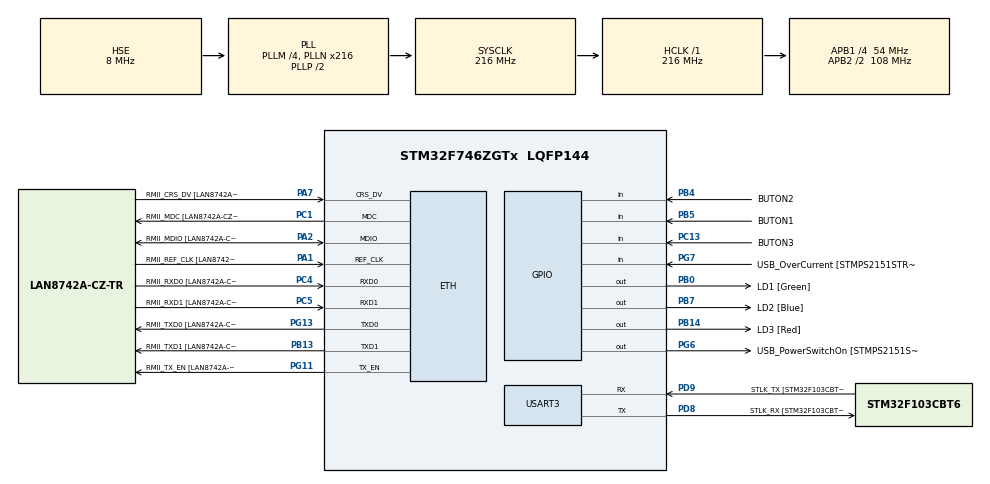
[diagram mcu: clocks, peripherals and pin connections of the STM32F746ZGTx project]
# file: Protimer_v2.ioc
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ETH.MediaInterface=ETH_MEDIA_INTERFACE_RMII
ETH.PHY_Name=LAN8742A_PHY_ADDRESS
ETH.PHY_Value=0
ETH.PhyAddress=0
Mcu.Family=STM32F7
Mcu.Name=STM32F746ZGTx
Mcu.Package=LQFP144
NVIC.PriorityGroup=NVIC_PRIORITYGROUP_4
PA1.GPIO_Label=RMII_REF_CLK [LAN8742A-CZ-TR_REFCLK0]
PA1.Mode=RMII
PA1.Signal=ETH_REF_CLK
PA13.GPIO_Label=TMS
PA13.Mode=Trace_Asynchronous_SW
PA13.Signal=SYS_JTMS-SWDIO
PA14.GPIO_Label=TCK
PA14.Mode=Trace_Asynchronous_SW
PA14.Signal=SYS_JTCK-SWCLK
PA2.GPIO_Label=RMII_MDIO [LAN8742A-CZ-TR_MDIO]
PA2.Mode=RMII
PA2.Signal=ETH_MDIO
PA7.GPIO_Label=RMII_CRS_DV [LAN8742A-CZ-TR_CRS_DV]
PA7.Mode=RMII
PA7.Signal=ETH_CRS_DV
PB0.GPIO_Label=LD1 [Green]
PB0.Signal=GPIO_Output
PB13.GPIO_Label=RMII_TXD1 [LAN8742A-CZ-TR_TXD1]
PB13.Mode=RMII
PB13.Signal=ETH_TXD1
PB14.GPIO_Label=LD3 [Red]
PB14.Signal=GPIO_Output
PB3.GPIO_Label=SW0
PB3.Mode=Trace_Asynchronous_SW
PB3.Signal=SYS_JTDO-SWO
PB4.GPIO_Label=BUTON2
PB4.GPIO_PuPd=GPIO_PULLDOWN
PB4.Signal=GPIO_Input
PB5.GPIO_Label=BUTON1
PB5.GPIO_PuPd=GPIO_PULLDOWN
PB5.Signal=GPIO_Input
PB7.GPIO_Label=LD2 [Blue]
PB7.Signal=GPIO_Output
PC1.GPIO_Label=RMII_MDC [LAN8742A-CZ-TR_MDC]
PC1.Mode=RMII
PC1.Signal=ETH_MDC
PC13.GPIO_Label=BUTON3
PC13.GPIO_PuPd=GPIO_PULLDOWN
PC13.Signal=GPIO_Input
PC14/OSC32_IN.Mode=LSE-External-Oscillator
PC14/OSC32_IN.Signal=RCC_OSC32_IN
PC15/OSC32_OUT.Mode=LSE-External-Oscillator
PC15/OSC32_OUT.Signal=RCC_OSC32_OUT
PC4.GPIO_Label=RMII_RXD0 [LAN8742A-CZ-TR_RXD0]
PC4.Mode=RMII
PC4.Signal=ETH_RXD0
PC5.GPIO_Label=RMII_RXD1 [LAN8742A-CZ-TR_RXD1]
PC5.Mode=RMII
PC5.Signal=ETH_RXD1
PD8.GPIO_Label=STLK_RX [STM32F103CBT6_PA3]
PD8.Mode=Asynchronous
PD8.Signal=USART3_TX
PD9.GPIO_Label=STLK_TX [STM32F103CBT6_PA2]
PD9.Mode=Asynchronous
PD9.Signal=USART3_RX
PG11.GPIO_Label=RMII_TX_EN [LAN8742A-CZ-TR_TXEN]
PG11.Mode=RMII
PG11.Signal=ETH_TX_EN
PG13.GPIO_Label=RMII_TXD0 [LAN8742A-CZ-TR_TXD0]
PG13.Mode=RMII
PG13.Signal=ETH_TXD0
PG6.GPIO_Label=USB_PowerSwitchOn [STMPS2151STR_EN]
PG6.Signal=GPIO_Output
PG7.GPIO_Label=USB_OverCurrent [STMPS2151STR_FAULT]
PG7.Signal=GPIO_Input
PH0/OSC_IN.GPIO_Label=MCO [STM32F103CBT6_PA8]
PH0/OSC_IN.Mode=HSE-External-Clock-Source
PH0/OSC_IN.Signal=RCC_OSC_IN
PH1/OSC_OUT.Mode=HSE-External-Clock-Source
PH1/OSC_OUT.Signal=RCC_OSC_OUT
ProjectManager.HeapSize=0x200
ProjectManager.StackSize=0x400
ProjectManager.TargetToolchain=STM32CubeIDE
RCC.48MHZClocksFreq_Value=24000000
RCC.AHBFreq_Value=216000000
RCC.APB1CLKDivider=RCC_HCLK_DIV4
RCC.APB1Freq_Value=54000000
RCC.APB1TimFreq_Value=108000000
RCC.APB2CLKDivider=RCC_HCLK_DIV2
RCC.APB2Freq_Value=108000000
RCC.APB2TimFreq_Value=216000000
RCC.CortexFreq_Value=216000000
RCC.HCLKFreq_Value=216000000
RCC.HSE_VALUE=8000000
RCC.HSI_VALUE=16000000
RCC.PLLM=4
RCC.PLLMUL=RCC_PLL_MUL9
RCC.PLLN=216
RCC.PLLQ=9
RCC.PLLSourceVirtual=RCC_PLLSOURCE_HSE
RCC.PRESCALERUSB=RCC_USBCLKSOURCE_PLL_DIV1_5
RCC.SYSCLKFreq_VALUE=216000000
RCC.SYSCLKSource=RCC_SYSCLKSOURCE_PLLCLK
RCC.SYSCLKSourceVirtual=RCC_SYSCLKSOURCE_PLLCLK
RCC.USBFreq_Value=48000000
RCC.VCOOutputFreq_Value=432000000
USART3.VirtualMode-Asynchronous=VM_ASYNC
board=NUCLEO-F746ZG

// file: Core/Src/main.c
/* USER CODE BEGIN Header */
/**
  ******************************************************************************
  * @file           : main.c
  * @brief          : Main program body
  ******************************************************************************
  * @attention
  *
  * Copyright (c) 2022 STMicroelectronics.
  * All rights reserved.
  *
  * This software is licensed under terms that can be found in the LICENSE file
  * in the root directory of this software component.
  * If no LICENSE file comes with this software, it is provided AS-IS.
  *
  ******************************************************************************
  */
/* USER CODE END Header */
#include "main.h"

/* USER CODE BEGIN Includes */
#include "stdio.h"
/* USER CODE END Includes */

/* USER CODE BEGIN PD */
#define DEMCR        			*((volatile uint32_t*) 0xE000EDFCU )
#define ITM_STIMULUS_PORT0   	*((volatile uint32_t*) 0xE0000000 )
#define ITM_TRACE_EN          	*((volatile uint32_t*) 0xE0000E00 )
/* USER CODE END PD */

ETH_HandleTypeDef heth;

UART_HandleTypeDef huart3;

/* USER CODE BEGIN PV */
static protimer_t protimer;
/* USER CODE END PV */

void SystemClock_Config(void);
static void MX_GPIO_Init(void);
static void MX_ETH_Init(void);
static void MX_USART3_UART_Init(void);
/* USER CODE BEGIN PFP */
void xITM_SendChar(uint8_t ch);
int _write(int file, char *ptr, int len);
static void protimer_event_dispatcher(protimer_t *const mobj,event_t const * const e);
static uint8_t process_button_pad_value(uint8_t btn_pad_value);
/* USER CODE END PFP */

int main(void)
{

  /* MCU Configuration--------------------------------------------------------*/

  /* Reset of all peripherals, Initializes the Flash interface and the Systick. */
  HAL_Init();

  /* Configure the system clock */
  SystemClock_Config();

  /* Initialize all configured peripherals */
  MX_GPIO_Init();
//  MX_ETH_Init();
  MX_USART3_UART_Init();
  /* USER CODE BEGIN 2 */
  printf("Productive Timer Application\n");
  printf("============================\n");

  protimer_init(&protimer);
  /* USER CODE END 2 */

  /* Infinite loop */
  while (1)
  {

    /* USER CODE BEGIN 3 */

	  uint8_t b1,b2,b3,btn_pad_value;
	  protimer_user_event_t ue;
	  static uint32_t current_time;
	  static protimer_tick_event_t te;

	  //1. Read Button Pad Status
	  b1 = HAL_GPIO_ReadPin(BUTON1_GPIO_Port,BUTON1_Pin);
	  b2 = HAL_GPIO_ReadPin(BUTON2_GPIO_Port,BUTON2_Pin);
	  b3 = HAL_GPIO_ReadPin(BUTON3_GPIO_Port,BUTON3_Pin);

	  btn_pad_value = (b1 << 2) | (b2 << 1) | b3;

	  /* Software button debouncing */
	  btn_pad_value = process_button_pad_value(btn_pad_value);

	  if(btn_pad_value){

		  if(btn_pad_value == BTN_PAD_VALUE_INC_TIME){
			  ue.super.sig = INC_TIME;
		  }
		  else if(btn_pad_value == BTN_PAD_VALUE_DEC_TIME){
			  ue.super.sig = DEC_TIME;
		  }
		  else if(btn_pad_value == BTN_PAD_VALUE_ABRT){
			  ue.super.sig = ABRT;
		  }
		  else if(btn_pad_value == BTN_PAD_VALUE_SP){
			  ue.super.sig = START_PAUSE;
		  }

		  //3. send it to event dispatcher
		  protimer_event_dispatcher(&protimer,&ue.super); // ue = user event

	  }

	  //Dispatch the time tick event for every 100ms

	  if(HAL_GetTick() - current_time >= 100){

		  //100ms passed
		  current_time = HAL_GetTick();
		  te.super.sig = TIME_TICK;
		  if(++te.ss > 10) te.ss = 1;
		  protimer_event_dispatcher(&protimer,&te.super); // te = tick event
	  }
  }
  /* USER CODE END 3 */
}

void SystemClock_Config(void)
{
  RCC_OscInitTypeDef RCC_OscInitStruct = {0};
  RCC_ClkInitTypeDef RCC_ClkInitStruct = {0};

  /** Configure LSE Drive Capability
  */
  HAL_PWR_EnableBkUpAccess();

  /** Configure the main internal regulator output voltage
  */
  __HAL_RCC_PWR_CLK_ENABLE();
  __HAL_PWR_VOLTAGESCALING_CONFIG(PWR_REGULATOR_VOLTAGE_SCALE1);

  /** Initializes the RCC Oscillators according to the specified parameters
  * in the RCC_OscInitTypeDef structure.
  */
  RCC_OscInitStruct.OscillatorType = RCC_OSCILLATORTYPE_HSE;
  RCC_OscInitStruct.HSEState = RCC_HSE_BYPASS;
  RCC_OscInitStruct.PLL.PLLState = RCC_PLL_ON;
  RCC_OscInitStruct.PLL.PLLSource = RCC_PLLSOURCE_HSE;
  RCC_OscInitStruct.PLL.PLLM = 4;
  RCC_OscInitStruct.PLL.PLLN = 216;
  RCC_OscInitStruct.PLL.PLLP = RCC_PLLP_DIV2;
  RCC_OscInitStruct.PLL.PLLQ = 9;
  if (HAL_RCC_OscConfig(&RCC_OscInitStruct) != HAL_OK)
  {
    Error_Handler();
  }

  /** Activate the Over-Drive mode
  */
  if (HAL_PWREx_EnableOverDrive() != HAL_OK)
  {
    Error_Handler();
  }

  /** Initializes the CPU, AHB and APB buses clocks
  */
  RCC_ClkInitStruct.ClockType = RCC_CLOCKTYPE_HCLK|RCC_CLOCKTYPE_SYSCLK
                              |RCC_CLOCKTYPE_PCLK1|RCC_CLOCKTYPE_PCLK2;
  RCC_ClkInitStruct.SYSCLKSource = RCC_SYSCLKSOURCE_PLLCLK;
  RCC_ClkInitStruct.AHBCLKDivider = RCC_SYSCLK_DIV1;
  RCC_ClkInitStruct.APB1CLKDivider = RCC_HCLK_DIV4;
  RCC_ClkInitStruct.APB2CLKDivider = RCC_HCLK_DIV2;

  if (HAL_RCC_ClockConfig(&RCC_ClkInitStruct, FLASH_LATENCY_7) != HAL_OK)
  {
    Error_Handler();
  }
}

static void MX_ETH_Init(void)
{

   static uint8_t MACAddr[6];

  heth.Instance = ETH;
  heth.Init.AutoNegotiation = ETH_AUTONEGOTIATION_ENABLE;
  heth.Init.Speed = ETH_SPEED_100M;
  heth.Init.DuplexMode = ETH_MODE_FULLDUPLEX;
  heth.Init.PhyAddress = LAN8742A_PHY_ADDRESS;
  MACAddr[0] = 0x00;
  MACAddr[1] = 0x80;
  MACAddr[2] = 0xE1;
  MACAddr[3] = 0x00;
  MACAddr[4] = 0x00;
  MACAddr[5] = 0x00;
  heth.Init.MACAddr = &MACAddr[0];
  heth.Init.RxMode = ETH_RXPOLLING_MODE;
  heth.Init.ChecksumMode = ETH_CHECKSUM_BY_HARDWARE;
  heth.Init.MediaInterface = ETH_MEDIA_INTERFACE_RMII;

  if (HAL_ETH_Init(&heth) != HAL_OK)
  {
    Error_Handler();
  }

}

static void MX_USART3_UART_Init(void)
{

  huart3.Instance = USART3;
  huart3.Init.BaudRate = 115200;
  huart3.Init.WordLength = UART_WORDLENGTH_8B;
  huart3.Init.StopBits = UART_STOPBITS_1;
  huart3.Init.Parity = UART_PARITY_NONE;
  huart3.Init.Mode = UART_MODE_TX_RX;
  huart3.Init.HwFlowCtl = UART_HWCONTROL_NONE;
  huart3.Init.OverSampling = UART_OVERSAMPLING_16;
  huart3.Init.OneBitSampling = UART_ONE_BIT_SAMPLE_DISABLE;
  huart3.AdvancedInit.AdvFeatureInit = UART_ADVFEATURE_NO_INIT;
  if (HAL_UART_Init(&huart3) != HAL_OK)
  {
    Error_Handler();
  }

}

static void MX_GPIO_Init(void)
{
  GPIO_InitTypeDef GPIO_InitStruct = {0};

  /* GPIO Ports Clock Enable */
  __HAL_RCC_GPIOC_CLK_ENABLE();
  __HAL_RCC_GPIOH_CLK_ENABLE();
  __HAL_RCC_GPIOA_CLK_ENABLE();
  __HAL_RCC_GPIOB_CLK_ENABLE();
  __HAL_RCC_GPIOD_CLK_ENABLE();
  __HAL_RCC_GPIOG_CLK_ENABLE();

  /*Configure GPIO pin Output Level */
  HAL_GPIO_WritePin(GPIOB, LD1_Pin|LD3_Pin|LD2_Pin, GPIO_PIN_RESET);

  /*Configure GPIO pin Output Level */
  HAL_GPIO_WritePin(USB_PowerSwitchOn_GPIO_Port, USB_PowerSwitchOn_Pin, GPIO_PIN_RESET);

  /*Configure GPIO pin : BUTON3_Pin */
  GPIO_InitStruct.Pin = BUTON3_Pin;
  GPIO_InitStruct.Mode = GPIO_MODE_INPUT;
  GPIO_InitStruct.Pull = GPIO_PULLDOWN;
  HAL_GPIO_Init(BUTON3_GPIO_Port, &GPIO_InitStruct);

  /*Configure GPIO pins : LD1_Pin LD3_Pin LD2_Pin */
  GPIO_InitStruct.Pin = LD1_Pin|LD3_Pin|LD2_Pin;
  GPIO_InitStruct.Mode = GPIO_MODE_OUTPUT_PP;
  GPIO_InitStruct.Pull = GPIO_NOPULL;
  GPIO_InitStruct.Speed = GPIO_SPEED_FREQ_LOW;
  HAL_GPIO_Init(GPIOB, &GPIO_InitStruct);

  /*Configure GPIO pin : USB_PowerSwitchOn_Pin */
  GPIO_InitStruct.Pin = USB_PowerSwitchOn_Pin;
  GPIO_InitStruct.Mode = GPIO_MODE_OUTPUT_PP;
  GPIO_InitStruct.Pull = GPIO_NOPULL;
  GPIO_InitStruct.Speed = GPIO_SPEED_FREQ_LOW;
  HAL_GPIO_Init(USB_PowerSwitchOn_GPIO_Port, &GPIO_InitStruct);

  /*Configure GPIO pin : USB_OverCurrent_Pin */
  GPIO_InitStruct.Pin = USB_OverCurrent_Pin;
  GPIO_InitStruct.Mode = GPIO_MODE_INPUT;
  GPIO_InitStruct.Pull = GPIO_NOPULL;
  HAL_GPIO_Init(USB_OverCurrent_GPIO_Port, &GPIO_InitStruct);

  /*Configure GPIO pins : BUTON2_Pin BUTON1_Pin */
  GPIO_InitStruct.Pin = BUTON2_Pin|BUTON1_Pin;
  GPIO_InitStruct.Mode = GPIO_MODE_INPUT;
  GPIO_InitStruct.Pull = GPIO_PULLDOWN;
  HAL_GPIO_Init(GPIOB, &GPIO_InitStruct);

}

/* USER CODE BEGIN 4 */

static void protimer_event_dispatcher(protimer_t *const mobj,event_t const * const e){

	event_status_t status;
	protimer_state_t source=0,target=0;

	source = mobj->active_state;

//	status = protimer_state_machine(mobj,e);
	status = (*mobj->active_state)(mobj,e);

	if(status == EVENT_TRANSITION){

		target = mobj->active_state;
		event_t ee;
		//1. run the source exit action
		ee.sig = EXIT;
//		mobj->active_state = source;
//		protimer_state_machine(mobj,&ee);
		(*source)(mobj,&ee);

		//2. run the target entry action
		ee.sig = ENTRY;
//		mobj->active_state = target;
//		protimer_state_machine(mobj,&ee);
		(*target)(mobj,&ee);

	}
}

static uint8_t process_button_pad_value(uint8_t btn_pad_value){

	static button_state_t btn_sm_state = NOT_PRESSED;
//	static uint32_t curr_time = HAL_GetTick();
	static uint32_t curr_time = 0;

	switch(btn_sm_state){

		case NOT_PRESSED:
		  if(btn_pad_value){
			  btn_sm_state = BOUNCE;
			  curr_time = HAL_GetTick();
		  }
		  break;

		case BOUNCE:
		  if(HAL_GetTick() - curr_time >= 50){
			  //50ms has passed
			  if(btn_pad_value){
				  btn_sm_state = PRESSED;
			  	  return btn_pad_value;
			  }
			  else
				  btn_sm_state = NOT_PRESSED;
		  }
		  break;

		case PRESSED:
		  if(!btn_pad_value){
			  btn_sm_state = BOUNCE;
			  curr_time = HAL_GetTick();
		  }
		  break;

	}

	return 0;
}

void xITM_SendChar(uint8_t ch)
{
	//Enable TRCENA
	DEMCR |= ( 1 << 24);

	//enable stimulus port 0
	ITM_TRACE_EN |= ( 1 << 0);

	// read FIFO status in bit [0]:
	while(!(ITM_STIMULUS_PORT0 & 1));

	//Write to ITM stimulus port0
	ITM_STIMULUS_PORT0 = ch;
}

int _write(int file, char *ptr, int len)
{
  /* Implement your write code here, this is used by puts and printf for example */
  int i=0;

  for(i=0 ; i<len ; i++)
    xITM_SendChar((*ptr++));
//	  ITM_SendChar((*ptr++));

  return len;
}

/* USER CODE END 4 */

void Error_Handler(void)
{
  __disable_irq();
  while (1)
  {
  }
}
